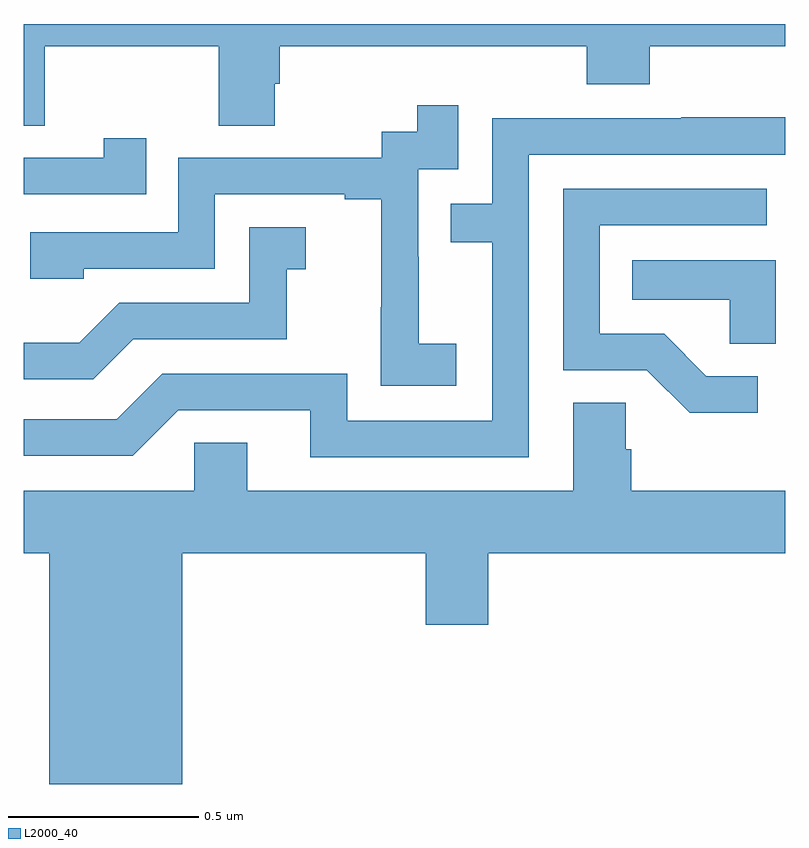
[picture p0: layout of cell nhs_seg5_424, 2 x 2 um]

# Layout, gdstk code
import gdstk
lib = gdstk.Library(unit=1e-6, precision=1e-09)
def P(c, l, *ps):  # polygons
    for p in ps: c.add(gdstk.Polygon(p, *l))
L2000_40 = (2000, 40)

nhs_seg5_424 = lib.new_cell('nhs_seg5_424')
P(nhs_seg5_424, L2000_40, [(116.055,876.74),(116.512,876.74),(116.512,876.532),(116.659,876.532),(116.659,876.642),(116.672,876.642),(116.672,876.74),(117.479,876.74),(117.479,876.641),(117.644,876.641),(117.644,876.74),(118,876.74),(118,876.799),(116,876.799),(116,876.532),(116.055,876.532)],
  [(117.136,875.959),(117.038,875.959),(117.038,876.188),(117.036,876.188),(117.036,876.417),(117.141,876.417),(117.141,876.586),(117.033,876.586),(117.033,876.516),(116.94,876.516),(116.94,876.447),(116.406,876.447),(116.406,876.252),(116.017,876.252),(116.017,876.129),(116.157,876.129),(116.157,876.156),(116.502,876.156),(116.502,876.351),(116.843,876.351),(116.843,876.339),(116.939,876.339),(116.939,876.055),(116.938,876.055),(116.938,875.849),(117.136,875.849)],
  [(117.327,876.456),(118,876.456),(118,876.554),(117.727,876.554),(117.727,876.552),(117.231,876.552),(117.231,876.327),(117.121,876.327),(117.121,876.226),(117.231,876.226),(117.231,875.757),(116.85,875.757),(116.85,875.88),(116.364,875.88),(116.244,875.76),(116,875.76),(116,875.664),(116.286,875.664),(116.406,875.784),(116.753,875.784),(116.753,875.661),(117.327,875.661)],
  [(116.321,876.499),(116.21,876.499),(116.21,876.447),(116,876.447),(116,876.351),(116.321,876.351)],
  [(117.928,875.874),(117.793,875.874),(117.682,875.985),(117.513,875.985),(117.513,876.27),(117.952,876.27),(117.952,876.366),(117.417,876.366),(117.417,875.889),(117.636,875.889),(117.749,875.777),(117.928,875.777)],
  [(116.287,875.97),(116.691,875.97),(116.691,876.155),(116.74,876.155),(116.74,876.265),(116.592,876.265),(116.592,876.066),(116.25,876.066),(116.146,875.962),(116,875.962),(116,875.865),(116.182,875.865)],
  [(117.976,876.178),(117.598,876.178),(117.598,876.074),(117.855,876.074),(117.855,875.959),(117.976,875.959)],
  [(116.416,875.408),(117.056,875.408),(117.056,875.22),(117.22,875.22),(117.22,875.408),(118,875.408),(118,875.572),(117.596,875.572),(117.596,875.681),(117.582,875.681),(117.582,875.804),(117.443,875.804),(117.443,875.572),(116.587,875.572),(116.587,875.699),(116.448,875.699),(116.448,875.572),(116,875.572),(116,875.408),(116.066,875.408),(116.066,874.802),(116.416,874.802)])

lib.write_gds('nhs_seg5_424.gds')
